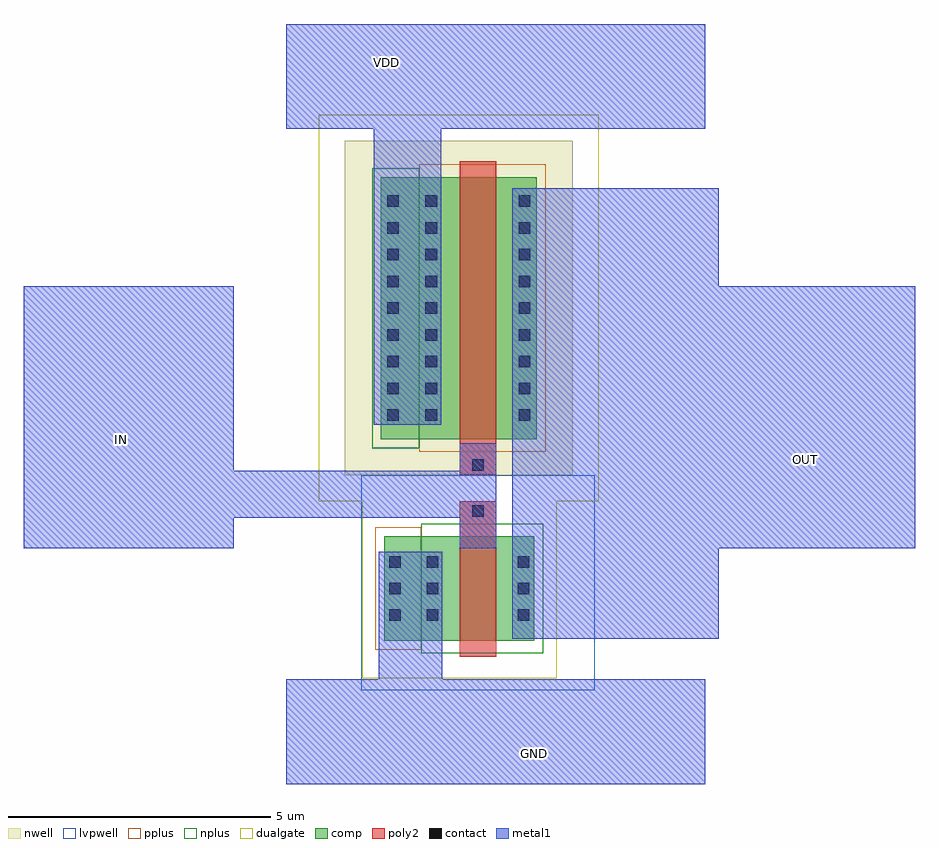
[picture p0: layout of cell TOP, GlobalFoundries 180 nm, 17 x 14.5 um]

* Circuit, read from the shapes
.subckt TOP GND IN OUT VDD
XM1 OUT IN GND GND nfet_06v0 w=2u l=0.7u
XM2 OUT IN VDD VDD pfet_06v0 w=5u l=0.7u
.ends

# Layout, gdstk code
from math import pi, radians
import gdstk
lib = gdstk.Library(unit=1e-6, precision=1e-09)
def R(c, l, rs):  # rectangles x0, y0, x1, y1
    for r in rs: c.add(gdstk.rectangle(r[:2], r[2:], *l))
def A(c, l, x, y, w, h, nx, ny, dx, dy):  # array of equal rectangles
    R(c, l, [(x+i*dx, y+j*dy, x+i*dx+w, y+j*dy+h) for i in range(nx) for j in range(ny)])
nwell = (21, 0)
comp = (22, 0)
poly2 = (30, 0)
pplus = (31, 0)
nplus = (32, 0)
contact = (33, 0)
metal1 = (34, 0)
dualgate = (55, 0)
lvpwell = (204, 0)

pfet_1 = lib.new_cell('pfet$1')
R(pfet_1, nwell, [(-1.15,-0.69,3.2,5.69)])
R(pfet_1, comp, [(-0.46,0,0,5), (0,0,1.32,5), (1.32,0,1.78,5), (1.78,0,2.51,5)])
R(pfet_1, poly2, [(0.31,-0.3,1.01,5.3), (0.31,5.3,1.01,5.68)])
R(pfet_1, pplus, [(-0.63,-0.24,1.78,5.24)])
R(pfet_1, nplus, [(1.78,-0.17,2.68,5.17)])
A(pfet_1, contact, -0.34, 0.35, 0.22, 0.22, 1, 9, 0, 0.51)
A(pfet_1, contact, 1.44, 0.35, 0.22, 0.22, 1, 9, 0, 0.51)
A(pfet_1, contact, 2.17, 0.35, 0.22, 0.22, 1, 9, 0, 0.51)
R(pfet_1, contact, [(0.55,5.38,0.77,5.6)])
R(pfet_1, metal1, [(-0.42,0.27,-0.04,4.73), (1.36,0.27,1.74,4.73), (2.09,0.27,2.47,4.73), (0.47,5.299,0.85,5.681)])
R(pfet_1, dualgate, [(-1.65,-1.19,3.7,6.19)])

nfet_1 = lib.new_cell('nfet$1')
R(nfet_1, comp, [(-0.42,0,0,2), (0,0,1.32,2), (1.32,0,1.74,2), (1.74,0,2.45,2)])
R(nfet_1, poly2, [(0.31,-0.66,1.01,-0.3), (0.31,-0.3,1.01,2.3)])
R(nfet_1, pplus, [(1.74,-0.17,2.62,2.17)])
R(nfet_1, nplus, [(-0.59,-0.24,1.74,2.24)])
A(nfet_1, contact, -0.32, 0.38, 0.22, 0.22, 1, 3, 0, 0.51)
A(nfet_1, contact, 1.42, 0.38, 0.22, 0.22, 1, 3, 0, 0.51)
A(nfet_1, contact, 2.13, 0.38, 0.22, 0.22, 1, 3, 0, 0.51)
R(nfet_1, contact, [(0.55,-0.59,0.77,-0.37)])
R(nfet_1, metal1, [(0.47,-0.671,0.85,-0.289), (-0.4,0.3,-0.02,1.7), (1.34,0.3,1.72,1.7), (2.05,0.3,2.43,1.7)])
R(nfet_1, dualgate, [(-0.84,-1.081,2.87,2.71)])

top = lib.new_cell('TOP')
R(top, metal1, [(-3,-2.5,5,-0.5), (-1.23,-1.73,-0.02,1.93), (1.32,0.27,5.26,8.87), (-8,2,-4,7), (0.31,2,1.01,4), (5,2,9,7), (-4.87,2.58,1.01,3.48), (-1.33,4.35,-0.04,10.42), (-3,10,5,12)])
R(top, lvpwell, [(-1.57,-0.71,2.89,3.39)])
top.add(gdstk.Reference(pfet_1, (1.32,9.08), rotation=pi))
top.add(gdstk.Reference(nfet_1, (1.32,2.23), rotation=pi))
top.add(gdstk.Label('VDD', (-1.08,11.26), layer=34, texttype=10))
top.add(gdstk.Label('GND', (1.74,-1.92), layer=34, texttype=10))
top.add(gdstk.Label('IN', (-6.14,4.07), layer=34, texttype=10))
top.add(gdstk.Label('OUT', (6.92,3.69), layer=34, texttype=10))

lib.write_gds('TOP.gds')
